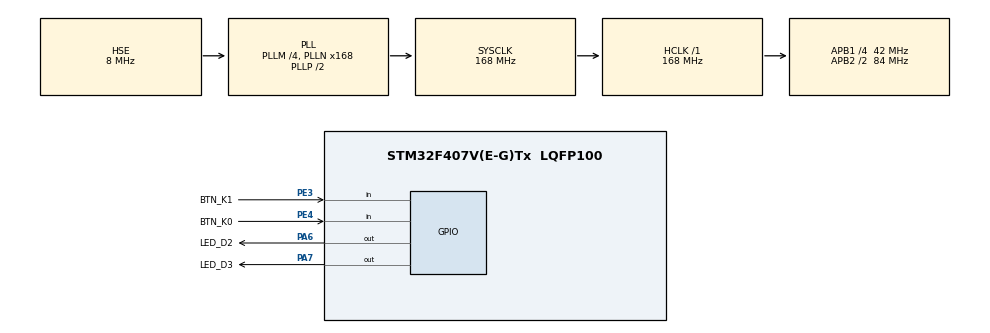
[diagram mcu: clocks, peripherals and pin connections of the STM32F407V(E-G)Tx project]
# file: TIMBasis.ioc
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Mcu.Family=STM32F4
Mcu.Name=STM32F407V(E-G)Tx
Mcu.Package=LQFP100
NVIC.PriorityGroup=NVIC_PRIORITYGROUP_4
NVIC.TIM3_IRQn=true\:1\:0\:true\:false\:true\:true\:true\:true
PA13.Mode=Serial_Wire
PA13.Signal=SYS_JTMS-SWDIO
PA14.Mode=Serial_Wire
PA14.Signal=SYS_JTCK-SWCLK
PA6.GPIO_Label=LED_D2
PA6.PinState=GPIO_PIN_SET
PA6.Signal=GPIO_Output
PA7.GPIO_Label=LED_D3
PA7.PinState=GPIO_PIN_SET
PA7.Signal=GPIO_Output
PE3.GPIO_Label=BTN_K1
PE3.GPIO_PuPd=GPIO_PULLUP
PE3.Signal=GPIO_Input
PE4.GPIO_Label=BTN_K0
PE4.GPIO_PuPd=GPIO_PULLUP
PE4.Signal=GPIO_Input
PH0-OSC_IN.Mode=HSE-External-Oscillator
PH0-OSC_IN.Signal=RCC_OSC_IN
PH1-OSC_OUT.Mode=HSE-External-Oscillator
PH1-OSC_OUT.Signal=RCC_OSC_OUT
ProjectManager.HeapSize=0x200
ProjectManager.StackSize=0x400
ProjectManager.TargetToolchain=STM32CubeIDE
RCC.48MHZClocksFreq_Value=84000000
RCC.AHBFreq_Value=168000000
RCC.APB1CLKDivider=RCC_HCLK_DIV4
RCC.APB1Freq_Value=42000000
RCC.APB1TimFreq_Value=84000000
RCC.APB2CLKDivider=RCC_HCLK_DIV2
RCC.APB2Freq_Value=84000000
RCC.APB2TimFreq_Value=168000000
RCC.CortexFreq_Value=168000000
RCC.HCLKFreq_Value=168000000
RCC.HSE_VALUE=8000000
RCC.HSI_VALUE=16000000
RCC.LSE_VALUE=32768
RCC.PLLM=4
RCC.PLLN=168
RCC.PLLSourceVirtual=RCC_PLLSOURCE_HSE
RCC.SYSCLKFreq_VALUE=168000000
RCC.SYSCLKSource=RCC_SYSCLKSOURCE_PLLCLK
RCC.VCOOutputFreq_Value=336000000
TIM3.Period=0
TIM3.Prescaler=41999
VP_TIM3_VS_ClockSourceINT.Mode=Internal
board=custom

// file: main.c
/* USER CODE BEGIN Header */
/**
  ******************************************************************************
  * @file           : main.c
  * @brief          : Main program body
  ******************************************************************************
  * @attention
  *
  * Copyright (c) 2024 STMicroelectronics.
  * All rights reserved.
  *
  * This software is licensed under terms that can be found in the LICENSE file
  * in the root directory of this software component.
  * If no LICENSE file comes with this software, it is provided AS-IS.
  *
  ******************************************************************************
  */
/* USER CODE END Header */
#include "main.h"

TIM_HandleTypeDef htim3;

void SystemClock_Config(void);
static void MX_GPIO_Init(void);
static void MX_TIM3_Init(void);

int main(void)
{

  /* MCU Configuration--------------------------------------------------------*/

  /* Reset of all peripherals, Initializes the Flash interface and the Systick. */
  HAL_Init();

  /* Configure the system clock */
  SystemClock_Config();

  /* Initialize all configured peripherals */
  MX_GPIO_Init();
  MX_TIM3_Init();
  /* USER CODE BEGIN 2 */
  HAL_TIM_Base_Start_IT(&htim3);
  HAL_Delay(100);
  /* USER CODE END 2 */

  /* Infinite loop */
  while (1)
  {

    /* USER CODE BEGIN 3 */

	  HAL_Delay(1000);
	  //ON OR OFF LED1 EACH 1 SEC
	  HAL_GPIO_TogglePin(LED_D2_GPIO_Port, LED_D2_Pin);
	  //Push BTN_K0 Off timer 3 Interruptions
	  if(HAL_GPIO_ReadPin(BTN_K0_GPIO_Port, BTN_K0_Pin)==0)
	  {
		  HAL_TIM_Base_Stop_IT(&htim3);
	  }
  }
  /* USER CODE END 3 */
}

void SystemClock_Config(void)
{
  RCC_OscInitTypeDef RCC_OscInitStruct = {0};
  RCC_ClkInitTypeDef RCC_ClkInitStruct = {0};

  /** Configure the main internal regulator output voltage
  */
  __HAL_RCC_PWR_CLK_ENABLE();
  __HAL_PWR_VOLTAGESCALING_CONFIG(PWR_REGULATOR_VOLTAGE_SCALE1);

  /** Initializes the RCC Oscillators according to the specified parameters
  * in the RCC_OscInitTypeDef structure.
  */
  RCC_OscInitStruct.OscillatorType = RCC_OSCILLATORTYPE_HSE;
  RCC_OscInitStruct.HSEState = RCC_HSE_ON;
  RCC_OscInitStruct.PLL.PLLState = RCC_PLL_ON;
  RCC_OscInitStruct.PLL.PLLSource = RCC_PLLSOURCE_HSE;
  RCC_OscInitStruct.PLL.PLLM = 4;
  RCC_OscInitStruct.PLL.PLLN = 168;
  RCC_OscInitStruct.PLL.PLLP = RCC_PLLP_DIV2;
  RCC_OscInitStruct.PLL.PLLQ = 4;
  if (HAL_RCC_OscConfig(&RCC_OscInitStruct) != HAL_OK)
  {
    Error_Handler();
  }

  /** Initializes the CPU, AHB and APB buses clocks
  */
  RCC_ClkInitStruct.ClockType = RCC_CLOCKTYPE_HCLK|RCC_CLOCKTYPE_SYSCLK
                              |RCC_CLOCKTYPE_PCLK1|RCC_CLOCKTYPE_PCLK2;
  RCC_ClkInitStruct.SYSCLKSource = RCC_SYSCLKSOURCE_PLLCLK;
  RCC_ClkInitStruct.AHBCLKDivider = RCC_SYSCLK_DIV1;
  RCC_ClkInitStruct.APB1CLKDivider = RCC_HCLK_DIV4;
  RCC_ClkInitStruct.APB2CLKDivider = RCC_HCLK_DIV2;

  if (HAL_RCC_ClockConfig(&RCC_ClkInitStruct, FLASH_LATENCY_5) != HAL_OK)
  {
    Error_Handler();
  }
}

static void MX_TIM3_Init(void)
{

  TIM_ClockConfigTypeDef sClockSourceConfig = {0};
  TIM_MasterConfigTypeDef sMasterConfig = {0};

  htim3.Instance = TIM3;
  htim3.Init.Prescaler = 41999;
  htim3.Init.CounterMode = TIM_COUNTERMODE_UP;
  htim3.Init.Period = 0;
  htim3.Init.ClockDivision = TIM_CLOCKDIVISION_DIV1;
  htim3.Init.AutoReloadPreload = TIM_AUTORELOAD_PRELOAD_DISABLE;
  if (HAL_TIM_Base_Init(&htim3) != HAL_OK)
  {
    Error_Handler();
  }
  sClockSourceConfig.ClockSource = TIM_CLOCKSOURCE_INTERNAL;
  if (HAL_TIM_ConfigClockSource(&htim3, &sClockSourceConfig) != HAL_OK)
  {
    Error_Handler();
  }
  sMasterConfig.MasterOutputTrigger = TIM_TRGO_RESET;
  sMasterConfig.MasterSlaveMode = TIM_MASTERSLAVEMODE_DISABLE;
  if (HAL_TIMEx_MasterConfigSynchronization(&htim3, &sMasterConfig) != HAL_OK)
  {
    Error_Handler();
  }

}

static void MX_GPIO_Init(void)
{
  GPIO_InitTypeDef GPIO_InitStruct = {0};

  /* GPIO Ports Clock Enable */
  __HAL_RCC_GPIOE_CLK_ENABLE();
  __HAL_RCC_GPIOH_CLK_ENABLE();
  __HAL_RCC_GPIOA_CLK_ENABLE();

  /*Configure GPIO pin Output Level */
  HAL_GPIO_WritePin(GPIOA, LED_D2_Pin|LED_D3_Pin, GPIO_PIN_SET);

  /*Configure GPIO pins : BTN_K1_Pin BTN_K0_Pin */
  GPIO_InitStruct.Pin = BTN_K1_Pin|BTN_K0_Pin;
  GPIO_InitStruct.Mode = GPIO_MODE_INPUT;
  GPIO_InitStruct.Pull = GPIO_PULLUP;
  HAL_GPIO_Init(GPIOE, &GPIO_InitStruct);

  /*Configure GPIO pins : LED_D2_Pin LED_D3_Pin */
  GPIO_InitStruct.Pin = LED_D2_Pin|LED_D3_Pin;
  GPIO_InitStruct.Mode = GPIO_MODE_OUTPUT_PP;
  GPIO_InitStruct.Pull = GPIO_NOPULL;
  GPIO_InitStruct.Speed = GPIO_SPEED_FREQ_LOW;
  HAL_GPIO_Init(GPIOA, &GPIO_InitStruct);

}

/* USER CODE BEGIN 4 */
//Tiners callback func
void HAL_TIM_PeriodElapsedCallback(TIM_HandleTypeDef *htim)
{
	if(htim->Instance == TIM3)
	{
		//Adjust new period Timer 3
		// 30000 * 500 us = 15 sec
		__HAL_TIM_SET_AUTORELOAD(&htim3,30000);

		HAL_GPIO_WritePin(LED_D3_GPIO_Port, LED_D3_Pin, GPIO_PIN_RESET);
		HAL_Delay(300);
		HAL_GPIO_WritePin(LED_D3_GPIO_Port, LED_D3_Pin, GPIO_PIN_SET);
		HAL_Delay(300);
		HAL_GPIO_WritePin(LED_D3_GPIO_Port, LED_D3_Pin, GPIO_PIN_RESET);
		HAL_Delay(500);
		HAL_GPIO_WritePin(LED_D3_GPIO_Port, LED_D3_Pin, GPIO_PIN_SET);
		HAL_Delay(500);
		HAL_GPIO_WritePin(LED_D3_GPIO_Port, LED_D3_Pin, GPIO_PIN_RESET);
		HAL_Delay(1000);
		HAL_GPIO_WritePin(LED_D3_GPIO_Port, LED_D3_Pin, GPIO_PIN_SET);
		HAL_Delay(1000);

	}
}

/* USER CODE END 4 */

void Error_Handler(void)
{
  __disable_irq();
  while (1)
  {
  }
}
